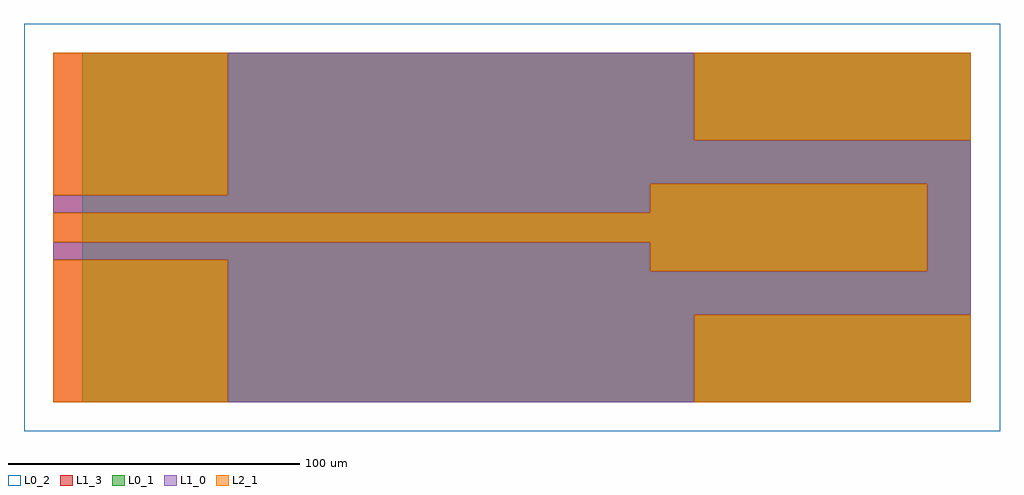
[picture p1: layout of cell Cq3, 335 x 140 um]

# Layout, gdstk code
import gdstk
lib = gdstk.Library(unit=1e-6, precision=1e-09)
def R(c, l, rs):  # rectangles x0, y0, x1, y1
    for r in rs: c.add(gdstk.rectangle(r[:2], r[2:], *l))
def P(c, l, *ps):  # polygons
    for p in ps: c.add(gdstk.Polygon(p, *l))
L0_1 = (0, 1)
L0_2 = (0, 2)
L1_0 = (1, 0)
L1_3 = (1, 3)
L2_1 = (2, 1)

cq3 = lib.new_cell('Cq3')
R(cq3, L0_1, [(-147.5,-60,157.5,60)])
R(cq3, L0_2, [(-167.5,-70,167.5,70)])
P(cq3, L1_0, [(-97.5,-60),(-97.5,-11),(-157.5,-11),(-157.5,-5),(47.5,-5),(47.5,-15),(142.5,-15),(142.5,15),(47.5,15),(47.5,5),(-157.5,5),(-157.5,11),(-97.5,11),(-97.5,60),(62.5,60),(62.5,30),(157.5,30),(157.5,-30),(62.5,-30),(62.5,-60)])
R(cq3, L1_3, [(-157.5,-60,157.5,60)])
R(cq3, L2_1, [(-157.5,-60,-97.5,-11), (62.5,-60,157.5,-30), (-157.5,11,-97.5,60), (62.5,30,157.5,60)])
P(cq3, L2_1, [(47.5,-15),(47.5,-5),(-157.5,-5),(-157.5,5),(47.5,5),(47.5,15),(142.5,15),(142.5,-15)])

lib.write_gds('Cq3.gds')
